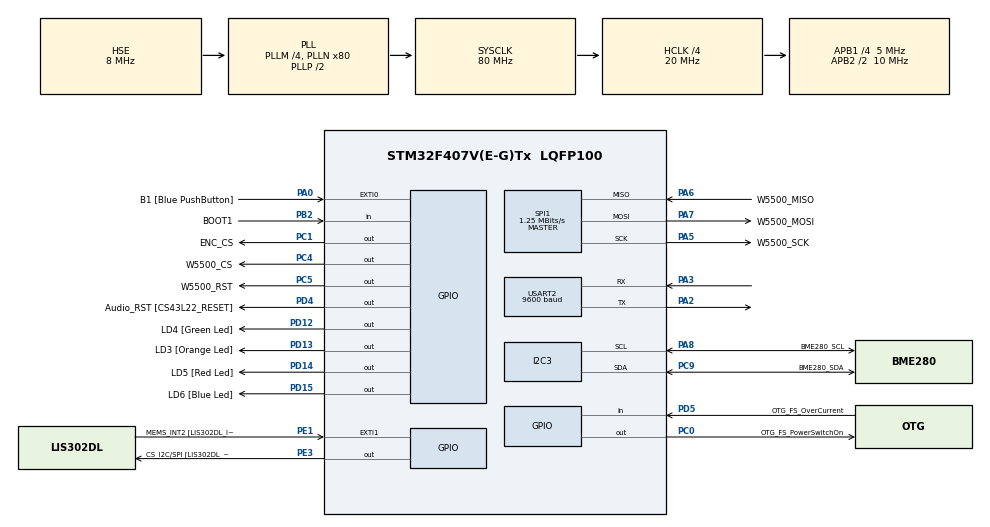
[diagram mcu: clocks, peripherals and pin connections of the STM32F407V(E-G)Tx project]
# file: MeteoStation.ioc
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Mcu.Family=STM32F4
Mcu.Name=STM32F407V(E-G)Tx
Mcu.Package=LQFP100
NVIC.PriorityGroup=NVIC_PRIORITYGROUP_4
NVIC.TIM6_DAC_IRQn=true\:15\:0\:false\:false\:true\:false\:true\:true
NVIC.TimeBase=TIM6_DAC_IRQn
NVIC.TimeBaseIP=TIM6
PA0-WKUP.GPIO_Label=B1 [Blue PushButton]
PA0-WKUP.Signal=GPXTI0
PA10.GPIO_Label=OTG_FS_ID
PA10.GPIO_Mode=GPIO_MODE_AF_PP
PA10.GPIO_PuPd=GPIO_NOPULL
PA10.GPIO_Speed=GPIO_SPEED_FREQ_LOW
PA10.Signal=USB_OTG_FS_ID
PA11.GPIO_Label=OTG_FS_DM
PA11.GPIO_Mode=GPIO_MODE_AF_PP
PA11.GPIO_PuPd=GPIO_NOPULL
PA11.GPIO_Speed=GPIO_SPEED_FREQ_LOW
PA11.Signal=USB_OTG_FS_DM
PA12.GPIO_Label=OTG_FS_DP
PA12.GPIO_Mode=GPIO_MODE_AF_PP
PA12.GPIO_PuPd=GPIO_NOPULL
PA12.GPIO_Speed=GPIO_SPEED_FREQ_LOW
PA12.Signal=USB_OTG_FS_DP
PA13.GPIO_Label=SWDIO
PA13.Mode=Serial_Wire
PA13.Signal=SYS_JTMS-SWDIO
PA14.GPIO_Label=SWCLK
PA14.Mode=Serial_Wire
PA14.Signal=SYS_JTCK-SWCLK
PA2.Mode=Asynchronous
PA2.Signal=USART2_TX
PA3.Mode=Asynchronous
PA3.Signal=USART2_RX
PA4.GPIO_Label=I2S3_WS [CS43L22_LRCK]
PA4.GPIO_Mode=GPIO_MODE_AF_PP
PA4.GPIO_PuPd=GPIO_NOPULL
PA4.GPIO_Speed=GPIO_SPEED_FREQ_LOW
PA4.Signal=I2S3_WS
PA5.GPIO_Label=W5500_SCK
PA5.GPIO_Mode=GPIO_MODE_AF_PP
PA5.GPIO_PuPd=GPIO_NOPULL
PA5.GPIO_Speed=GPIO_SPEED_FREQ_LOW
PA5.Mode=Full_Duplex_Master
PA5.Signal=SPI1_SCK
PA6.GPIO_Label=W5500_MISO
PA6.GPIO_Mode=GPIO_MODE_AF_PP
PA6.GPIO_PuPd=GPIO_NOPULL
PA6.GPIO_Speed=GPIO_SPEED_FREQ_LOW
PA6.Mode=Full_Duplex_Master
PA6.Signal=SPI1_MISO
PA7.GPIO_Label=W5500_MOSI
PA7.GPIO_Mode=GPIO_MODE_AF_PP
PA7.GPIO_PuPd=GPIO_NOPULL
PA7.GPIO_Speed=GPIO_SPEED_FREQ_LOW
PA7.Mode=Full_Duplex_Master
PA7.Signal=SPI1_MOSI
PA8.GPIO_Label=BME280_SCL
PA8.Mode=I2C
PA8.Signal=I2C3_SCL
PA9.GPIO_Label=VBUS_FS
PA9.GPIO_Mode=GPIO_MODE_INPUT
PA9.GPIO_PuPd=GPIO_NOPULL
PA9.Signal=USB_OTG_FS_VBUS
PB10.GPIO_Label=CLK_IN [MP45DT02_CLK]
PB10.GPIO_Mode=GPIO_MODE_AF_PP
PB10.GPIO_PuPd=GPIO_NOPULL
PB10.GPIO_Speed=GPIO_SPEED_FREQ_LOW
PB10.Signal=I2S2_CK
PB2.GPIO_Label=BOOT1
PB2.GPIO_Mode=GPIO_MODE_INPUT
PB2.GPIO_PuPd=GPIO_NOPULL
PB2.Signal=GPIO_Input
PB3.GPIO_Label=SWO
PB3.Signal=SYS_JTDO-SWO
PB6.GPIO_Label=Audio_SCL [CS43L22_SCL]
PB6.GPIO_Mode=GPIO_MODE_AF_OD
PB6.GPIO_PuPd=GPIO_NOPULL
PB6.GPIO_Speed=GPIO_SPEED_FREQ_LOW
PB6.Signal=I2C1_SCL
PB9.GPIO_Label=Audio_SDA [CS43L22_SDA]
PB9.GPIO_Mode=GPIO_MODE_AF_OD
PB9.GPIO_PuPd=GPIO_NOPULL
PB9.GPIO_Speed=GPIO_SPEED_FREQ_LOW
PB9.Signal=I2C1_SDA
PC0.GPIO_Label=OTG_FS_PowerSwitchOn
PC0.GPIO_PuPd=GPIO_NOPULL
PC0.GPIO_Speed=GPIO_SPEED_FREQ_LOW
PC0.PinState=GPIO_PIN_SET
PC0.Signal=GPIO_Output
PC1.GPIO_Label=ENC_CS
PC1.GPIO_Speed=GPIO_SPEED_FREQ_HIGH
PC1.PinState=GPIO_PIN_SET
PC1.Signal=GPIO_Output
PC10.GPIO_Label=I2S3_SCK [CS43L22_SCLK]
PC10.GPIO_Mode=GPIO_MODE_AF_PP
PC10.GPIO_PuPd=GPIO_NOPULL
PC10.GPIO_Speed=GPIO_SPEED_FREQ_LOW
PC10.Signal=I2S3_CK
PC12.GPIO_Label=I2S3_SD [CS43L22_SDIN]
PC12.GPIO_Mode=GPIO_MODE_AF_PP
PC12.GPIO_PuPd=GPIO_NOPULL
PC12.GPIO_Speed=GPIO_SPEED_FREQ_LOW
PC12.Signal=I2S3_SD
PC14-OSC32_IN.GPIO_Label=PC14-OSC32_IN
PC14-OSC32_IN.Mode=LSE-External-Oscillator
PC14-OSC32_IN.Signal=RCC_OSC32_IN
PC15-OSC32_OUT.GPIO_Label=PC15-OSC32_OUT
PC15-OSC32_OUT.Mode=LSE-External-Oscillator
PC15-OSC32_OUT.Signal=RCC_OSC32_OUT
PC3.GPIO_Label=PDM_OUT [MP45DT02_DOUT]
PC3.GPIO_Mode=GPIO_MODE_AF_PP
PC3.GPIO_PuPd=GPIO_NOPULL
PC3.GPIO_Speed=GPIO_SPEED_FREQ_LOW
PC3.Signal=I2S2_SD
PC4.GPIO_Label=W5500_CS
PC4.Signal=GPIO_Output
PC5.GPIO_Label=W5500_RST
PC5.Signal=GPIO_Output
PC7.GPIO_Label=I2S3_MCK [CS43L22_MCLK]
PC7.GPIO_Mode=GPIO_MODE_AF_PP
PC7.GPIO_PuPd=GPIO_NOPULL
PC7.GPIO_Speed=GPIO_SPEED_FREQ_LOW
PC7.Signal=I2S3_MCK
PC9.GPIO_Label=BME280_SDA
PC9.Mode=I2C
PC9.Signal=I2C3_SDA
PD12.GPIO_Label=LD4 [Green Led]
PD12.GPIO_PuPd=GPIO_NOPULL
PD12.GPIO_Speed=GPIO_SPEED_FREQ_LOW
PD12.Signal=GPIO_Output
PD13.GPIO_Label=LD3 [Orange Led]
PD13.GPIO_PuPd=GPIO_NOPULL
PD13.GPIO_Speed=GPIO_SPEED_FREQ_LOW
PD13.Signal=GPIO_Output
PD14.GPIO_Label=LD5 [Red Led]
PD14.GPIO_PuPd=GPIO_NOPULL
PD14.GPIO_Speed=GPIO_SPEED_FREQ_LOW
PD14.Signal=GPIO_Output
PD15.GPIO_Label=LD6 [Blue Led]
PD15.GPIO_PuPd=GPIO_NOPULL
PD15.GPIO_Speed=GPIO_SPEED_FREQ_LOW
PD15.Signal=GPIO_Output
PD4.GPIO_Label=Audio_RST [CS43L22_RESET]
PD4.GPIO_PuPd=GPIO_NOPULL
PD4.GPIO_Speed=GPIO_SPEED_FREQ_LOW
PD4.Signal=GPIO_Output
PD5.GPIO_Label=OTG_FS_OverCurrent
PD5.GPIO_Mode=GPIO_MODE_INPUT
PD5.GPIO_PuPd=GPIO_NOPULL
PD5.Signal=GPIO_Input
PE1.GPIO_Label=MEMS_INT2 [LIS302DL_INT2]
PE1.GPIO_ModeDefaultEXTI=GPIO_MODE_EVT_RISING
PE1.GPIO_PuPd=GPIO_NOPULL
PE1.Signal=GPXTI1
PE3.GPIO_Label=CS_I2C/SPI [LIS302DL_CS_I2C/SPI]
PE3.GPIO_PuPd=GPIO_NOPULL
PE3.GPIO_Speed=GPIO_SPEED_FREQ_LOW
PE3.Signal=GPIO_Output
PH0-OSC_IN.GPIO_Label=PH0-OSC_IN
PH0-OSC_IN.Mode=HSE-External-Oscillator
PH0-OSC_IN.Signal=RCC_OSC_IN
PH1-OSC_OUT.GPIO_Label=PH1-OSC_OUT
PH1-OSC_OUT.Mode=HSE-External-Oscillator
PH1-OSC_OUT.Signal=RCC_OSC_OUT
ProjectManager.HeapSize=0x200
ProjectManager.StackSize=0x400
ProjectManager.TargetToolchain=STM32CubeIDE
RCC.48MHZClocksFreq_Value=22857142.85714286
RCC.AHBCLKDivider=RCC_SYSCLK_DIV4
RCC.AHBFreq_Value=20000000
RCC.APB1CLKDivider=RCC_HCLK_DIV4
RCC.APB1Freq_Value=5000000
RCC.APB1TimFreq_Value=10000000
RCC.APB2CLKDivider=RCC_HCLK_DIV2
RCC.APB2Freq_Value=10000000
RCC.APB2TimFreq_Value=20000000
RCC.CortexFreq_Value=20000000
RCC.HCLKFreq_Value=20000000
RCC.HSE_VALUE=8000000
RCC.HSI_VALUE=16000000
RCC.PLLM=4
RCC.PLLN=80
RCC.PLLQ=7
RCC.PLLSourceVirtual=RCC_PLLSOURCE_HSE
RCC.SYSCLKFreq_VALUE=80000000
RCC.SYSCLKSource=RCC_SYSCLKSOURCE_PLLCLK
RCC.VCOOutputFreq_Value=160000000
RTC.Format=RTC_FORMAT_BIN
RTC.Hours=22
RTC.Minutes=59
RTC.Seconds=54
SPI1.BaudRatePrescaler=SPI_BAUDRATEPRESCALER_8
SPI1.CalculateBaudRate=1.25 MBits/s
SPI1.Direction=SPI_DIRECTION_2LINES
SPI1.Mode=SPI_MODE_MASTER
SPI1.VirtualType=VM_MASTER
USART2.BaudRate=9600
USART2.VirtualMode=VM_ASYNC
VP_RTC_VS_RTC_Activate.Mode=RTC_Enabled
VP_RTC_VS_RTC_Calendar.Mode=RTC_Calendar
VP_SYS_VS_tim6.Mode=TIM6
board=STM32F407G-DISC1

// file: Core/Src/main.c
/* USER CODE BEGIN Header */
/**
  ******************************************************************************
  * @file           : main.c
  * @brief          : Main program body
  ******************************************************************************
  * @attention
  *
  * Copyright (c) 2022 STMicroelectronics.
  * All rights reserved.
  *
  * This software is licensed under terms that can be found in the LICENSE file
  * in the root directory of this software component.
  * If no LICENSE file comes with this software, it is provided AS-IS.
  *
  ******************************************************************************
  */
/* USER CODE END Header */
#include "main.h"

/* USER CODE BEGIN Includes */
#include "string.h"
#include "stdio.h"

#include "FreeRTOS.h"
#include "task.h"
#include "queue.h"

#include "bme280.h"

/* USER CODE END Includes */

 I2C_HandleTypeDef hi2c3;

RTC_HandleTypeDef hrtc;

SPI_HandleTypeDef hspi1;

UART_HandleTypeDef huart2;

/* USER CODE BEGIN PV */

#define DWT_CTRL	(*(volatile uint32_t *)0xE0001000)

/* USER CODE END PV */

void SystemClock_Config(void);
static void MX_GPIO_Init(void);
static void MX_I2C3_Init(void);
static void MX_USART2_UART_Init(void);
static void MX_RTC_Init(void);
static void MX_SPI1_Init(void);
/* USER CODE BEGIN PFP */
void bme_measure(void *parameters);
void send_data(void *parameters);
/* USER CODE END PFP */

/* USER CODE BEGIN 0 */
bme280_t bme280;
BaseType_t status;
QueueHandle_t queue_meas;
TaskHandle_t send_data_handle;

/* USER CODE END 0 */

int main(void)
{
  /* USER CODE BEGIN 1 */
  bme280.i2c_port_handler = &hi2c3;
  bme280.i2c_addr = 0xEC;

  /* USER CODE END 1 */

  /* MCU Configuration--------------------------------------------------------*/

  /* Reset of all peripherals, Initializes the Flash interface and the Systick. */
  HAL_Init();

  /* Configure the system clock */
  SystemClock_Config();

  /* Initialize all configured peripherals */
  MX_GPIO_Init();
  MX_I2C3_Init();
  MX_USART2_UART_Init();
  MX_RTC_Init();
  MX_SPI1_Init();
  /* USER CODE BEGIN 2 */

  //Enable the CYCCNT counter
  DWT_CTRL |= (1<<0);

  SEGGER_SYSVIEW_Conf();
  SEGGER_SYSVIEW_Start();

  status = xTaskCreate(bme_measure, "bme_measure", 200, NULL, 2, NULL);
  configASSERT(status == pdPASS);

  status = xTaskCreate(send_data, "send_data", 200, NULL, 2, &send_data_handle);
  configASSERT(status == pdPASS);

  queue_meas = xQueueCreate(5, sizeof(float));
  configASSERT(queue_meas);

  bme280_config(&bme280, OSRS_2, OSRS_2, OSRS_2, MODE_FORCED, T_SB_0p5, IIR_4);
  bme280_measure(&bme280);

  vTaskStartScheduler();

  /* USER CODE END 2 */

  /* Infinite loop */
  while (1)
  {

  }
}

void SystemClock_Config(void)
{
  RCC_OscInitTypeDef RCC_OscInitStruct = {0};
  RCC_ClkInitTypeDef RCC_ClkInitStruct = {0};

  /** Configure the main internal regulator output voltage
  */
  __HAL_RCC_PWR_CLK_ENABLE();
  __HAL_PWR_VOLTAGESCALING_CONFIG(PWR_REGULATOR_VOLTAGE_SCALE1);

  /** Initializes the RCC Oscillators according to the specified parameters
  * in the RCC_OscInitTypeDef structure.
  */
  RCC_OscInitStruct.OscillatorType = RCC_OSCILLATORTYPE_LSI|RCC_OSCILLATORTYPE_HSE;
  RCC_OscInitStruct.HSEState = RCC_HSE_ON;
  RCC_OscInitStruct.LSIState = RCC_LSI_ON;
  RCC_OscInitStruct.PLL.PLLState = RCC_PLL_ON;
  RCC_OscInitStruct.PLL.PLLSource = RCC_PLLSOURCE_HSE;
  RCC_OscInitStruct.PLL.PLLM = 4;
  RCC_OscInitStruct.PLL.PLLN = 80;
  RCC_OscInitStruct.PLL.PLLP = RCC_PLLP_DIV2;
  RCC_OscInitStruct.PLL.PLLQ = 7;
  if (HAL_RCC_OscConfig(&RCC_OscInitStruct) != HAL_OK)
  {
    Error_Handler();
  }

  /** Initializes the CPU, AHB and APB buses clocks
  */
  RCC_ClkInitStruct.ClockType = RCC_CLOCKTYPE_HCLK|RCC_CLOCKTYPE_SYSCLK
                              |RCC_CLOCKTYPE_PCLK1|RCC_CLOCKTYPE_PCLK2;
  RCC_ClkInitStruct.SYSCLKSource = RCC_SYSCLKSOURCE_PLLCLK;
  RCC_ClkInitStruct.AHBCLKDivider = RCC_SYSCLK_DIV4;
  RCC_ClkInitStruct.APB1CLKDivider = RCC_HCLK_DIV4;
  RCC_ClkInitStruct.APB2CLKDivider = RCC_HCLK_DIV2;

  if (HAL_RCC_ClockConfig(&RCC_ClkInitStruct, FLASH_LATENCY_0) != HAL_OK)
  {
    Error_Handler();
  }
}

static void MX_I2C3_Init(void)
{

  hi2c3.Instance = I2C3;
  hi2c3.Init.ClockSpeed = 100000;
  hi2c3.Init.DutyCycle = I2C_DUTYCYCLE_2;
  hi2c3.Init.OwnAddress1 = 0;
  hi2c3.Init.AddressingMode = I2C_ADDRESSINGMODE_7BIT;
  hi2c3.Init.DualAddressMode = I2C_DUALADDRESS_DISABLE;
  hi2c3.Init.OwnAddress2 = 0;
  hi2c3.Init.GeneralCallMode = I2C_GENERALCALL_DISABLE;
  hi2c3.Init.NoStretchMode = I2C_NOSTRETCH_DISABLE;
  if (HAL_I2C_Init(&hi2c3) != HAL_OK)
  {
    Error_Handler();
  }

}

static void MX_RTC_Init(void)
{

  RTC_TimeTypeDef sTime = {0};
  RTC_DateTypeDef sDate = {0};

  /** Initialize RTC Only
  */
  hrtc.Instance = RTC;
  hrtc.Init.HourFormat = RTC_HOURFORMAT_24;
  hrtc.Init.AsynchPrediv = 127;
  hrtc.Init.SynchPrediv = 255;
  hrtc.Init.OutPut = RTC_OUTPUT_DISABLE;
  hrtc.Init.OutPutPolarity = RTC_OUTPUT_POLARITY_HIGH;
  hrtc.Init.OutPutType = RTC_OUTPUT_TYPE_OPENDRAIN;
  if (HAL_RTC_Init(&hrtc) != HAL_OK)
  {
    Error_Handler();
  }

  /** Initialize RTC and set the Time and Date
  */
  sTime.Hours = 22;
  sTime.Minutes = 59;
  sTime.Seconds = 54;
  sTime.DayLightSaving = RTC_DAYLIGHTSAVING_NONE;
  sTime.StoreOperation = RTC_STOREOPERATION_RESET;
  if (HAL_RTC_SetTime(&hrtc, &sTime, RTC_FORMAT_BIN) != HAL_OK)
  {
    Error_Handler();
  }
  sDate.WeekDay = RTC_WEEKDAY_MONDAY;
  sDate.Month = RTC_MONTH_JANUARY;
  sDate.Date = 1;
  sDate.Year = 0;

  if (HAL_RTC_SetDate(&hrtc, &sDate, RTC_FORMAT_BIN) != HAL_OK)
  {
    Error_Handler();
  }

}

static void MX_SPI1_Init(void)
{

  /* SPI1 parameter configuration*/
  hspi1.Instance = SPI1;
  hspi1.Init.Mode = SPI_MODE_MASTER;
  hspi1.Init.Direction = SPI_DIRECTION_2LINES;
  hspi1.Init.DataSize = SPI_DATASIZE_8BIT;
  hspi1.Init.CLKPolarity = SPI_POLARITY_LOW;
  hspi1.Init.CLKPhase = SPI_PHASE_1EDGE;
  hspi1.Init.NSS = SPI_NSS_SOFT;
  hspi1.Init.BaudRatePrescaler = SPI_BAUDRATEPRESCALER_8;
  hspi1.Init.FirstBit = SPI_FIRSTBIT_MSB;
  hspi1.Init.TIMode = SPI_TIMODE_DISABLE;
  hspi1.Init.CRCCalculation = SPI_CRCCALCULATION_DISABLE;
  hspi1.Init.CRCPolynomial = 10;
  if (HAL_SPI_Init(&hspi1) != HAL_OK)
  {
    Error_Handler();
  }

}

static void MX_USART2_UART_Init(void)
{

  huart2.Instance = USART2;
  huart2.Init.BaudRate = 9600;
  huart2.Init.WordLength = UART_WORDLENGTH_8B;
  huart2.Init.StopBits = UART_STOPBITS_1;
  huart2.Init.Parity = UART_PARITY_NONE;
  huart2.Init.Mode = UART_MODE_TX_RX;
  huart2.Init.HwFlowCtl = UART_HWCONTROL_NONE;
  huart2.Init.OverSampling = UART_OVERSAMPLING_16;
  if (HAL_UART_Init(&huart2) != HAL_OK)
  {
    Error_Handler();
  }

}

static void MX_GPIO_Init(void)
{
  GPIO_InitTypeDef GPIO_InitStruct = {0};

  /* GPIO Ports Clock Enable */
  __HAL_RCC_GPIOE_CLK_ENABLE();
  __HAL_RCC_GPIOC_CLK_ENABLE();
  __HAL_RCC_GPIOH_CLK_ENABLE();
  __HAL_RCC_GPIOA_CLK_ENABLE();
  __HAL_RCC_GPIOB_CLK_ENABLE();
  __HAL_RCC_GPIOD_CLK_ENABLE();

  /*Configure GPIO pin Output Level */
  HAL_GPIO_WritePin(CS_I2C_SPI_GPIO_Port, CS_I2C_SPI_Pin, GPIO_PIN_RESET);

  /*Configure GPIO pin Output Level */
  HAL_GPIO_WritePin(GPIOC, OTG_FS_PowerSwitchOn_Pin|ENC_CS_Pin, GPIO_PIN_SET);

  /*Configure GPIO pin Output Level */
  HAL_GPIO_WritePin(GPIOC, W5500_CS_Pin|W5500_RST_Pin, GPIO_PIN_RESET);

  /*Configure GPIO pin Output Level */
  HAL_GPIO_WritePin(GPIOD, LD4_Pin|LD3_Pin|LD5_Pin|LD6_Pin
                          |Audio_RST_Pin, GPIO_PIN_RESET);

  /*Configure GPIO pin : CS_I2C_SPI_Pin */
  GPIO_InitStruct.Pin = CS_I2C_SPI_Pin;
  GPIO_InitStruct.Mode = GPIO_MODE_OUTPUT_PP;
  GPIO_InitStruct.Pull = GPIO_NOPULL;
  GPIO_InitStruct.Speed = GPIO_SPEED_FREQ_LOW;
  HAL_GPIO_Init(CS_I2C_SPI_GPIO_Port, &GPIO_InitStruct);

  /*Configure GPIO pins : OTG_FS_PowerSwitchOn_Pin W5500_CS_Pin W5500_RST_Pin */
  GPIO_InitStruct.Pin = OTG_FS_PowerSwitchOn_Pin|W5500_CS_Pin|W5500_RST_Pin;
  GPIO_InitStruct.Mode = GPIO_MODE_OUTPUT_PP;
  GPIO_InitStruct.Pull = GPIO_NOPULL;
  GPIO_InitStruct.Speed = GPIO_SPEED_FREQ_LOW;
  HAL_GPIO_Init(GPIOC, &GPIO_InitStruct);

  /*Configure GPIO pin : ENC_CS_Pin */
  GPIO_InitStruct.Pin = ENC_CS_Pin;
  GPIO_InitStruct.Mode = GPIO_MODE_OUTPUT_PP;
  GPIO_InitStruct.Pull = GPIO_NOPULL;
  GPIO_InitStruct.Speed = GPIO_SPEED_FREQ_HIGH;
  HAL_GPIO_Init(ENC_CS_GPIO_Port, &GPIO_InitStruct);

  /*Configure GPIO pin : PDM_OUT_Pin */
  GPIO_InitStruct.Pin = PDM_OUT_Pin;
  GPIO_InitStruct.Mode = GPIO_MODE_AF_PP;
  GPIO_InitStruct.Pull = GPIO_NOPULL;
  GPIO_InitStruct.Speed = GPIO_SPEED_FREQ_LOW;
  GPIO_InitStruct.Alternate = GPIO_AF5_SPI2;
  HAL_GPIO_Init(PDM_OUT_GPIO_Port, &GPIO_InitStruct);

  /*Configure GPIO pin : B1_Pin */
  GPIO_InitStruct.Pin = B1_Pin;
  GPIO_InitStruct.Mode = GPIO_MODE_IT_RISING;
  GPIO_InitStruct.Pull = GPIO_NOPULL;
  HAL_GPIO_Init(B1_GPIO_Port, &GPIO_InitStruct);

  /*Configure GPIO pin : I2S3_WS_Pin */
  GPIO_InitStruct.Pin = I2S3_WS_Pin;
  GPIO_InitStruct.Mode = GPIO_MODE_AF_PP;
  GPIO_InitStruct.Pull = GPIO_NOPULL;
  GPIO_InitStruct.Speed = GPIO_SPEED_FREQ_LOW;
  GPIO_InitStruct.Alternate = GPIO_AF6_SPI3;
  HAL_GPIO_Init(I2S3_WS_GPIO_Port, &GPIO_InitStruct);

  /*Configure GPIO pin : BOOT1_Pin */
  GPIO_InitStruct.Pin = BOOT1_Pin;
  GPIO_InitStruct.Mode = GPIO_MODE_INPUT;
  GPIO_InitStruct.Pull = GPIO_NOPULL;
  HAL_GPIO_Init(BOOT1_GPIO_Port, &GPIO_InitStruct);

  /*Configure GPIO pin : CLK_IN_Pin */
  GPIO_InitStruct.Pin = CLK_IN_Pin;
  GPIO_InitStruct.Mode = GPIO_MODE_AF_PP;
  GPIO_InitStruct.Pull = GPIO_NOPULL;
  GPIO_InitStruct.Speed = GPIO_SPEED_FREQ_LOW;
  GPIO_InitStruct.Alternate = GPIO_AF5_SPI2;
  HAL_GPIO_Init(CLK_IN_GPIO_Port, &GPIO_InitStruct);

  /*Configure GPIO pins : LD4_Pin LD3_Pin LD5_Pin LD6_Pin
                           Audio_RST_Pin */
  GPIO_InitStruct.Pin = LD4_Pin|LD3_Pin|LD5_Pin|LD6_Pin
                          |Audio_RST_Pin;
  GPIO_InitStruct.Mode = GPIO_MODE_OUTPUT_PP;
  GPIO_InitStruct.Pull = GPIO_NOPULL;
  GPIO_InitStruct.Speed = GPIO_SPEED_FREQ_LOW;
  HAL_GPIO_Init(GPIOD, &GPIO_InitStruct);

  /*Configure GPIO pins : I2S3_MCK_Pin I2S3_SCK_Pin I2S3_SD_Pin */
  GPIO_InitStruct.Pin = I2S3_MCK_Pin|I2S3_SCK_Pin|I2S3_SD_Pin;
  GPIO_InitStruct.Mode = GPIO_MODE_AF_PP;
  GPIO_InitStruct.Pull = GPIO_NOPULL;
  GPIO_InitStruct.Speed = GPIO_SPEED_FREQ_LOW;
  GPIO_InitStruct.Alternate = GPIO_AF6_SPI3;
  HAL_GPIO_Init(GPIOC, &GPIO_InitStruct);

  /*Configure GPIO pin : VBUS_FS_Pin */
  GPIO_InitStruct.Pin = VBUS_FS_Pin;
  GPIO_InitStruct.Mode = GPIO_MODE_INPUT;
  GPIO_InitStruct.Pull = GPIO_NOPULL;
  HAL_GPIO_Init(VBUS_FS_GPIO_Port, &GPIO_InitStruct);

  /*Configure GPIO pins : OTG_FS_ID_Pin OTG_FS_DM_Pin OTG_FS_DP_Pin */
  GPIO_InitStruct.Pin = OTG_FS_ID_Pin|OTG_FS_DM_Pin|OTG_FS_DP_Pin;
  GPIO_InitStruct.Mode = GPIO_MODE_AF_PP;
  GPIO_InitStruct.Pull = GPIO_NOPULL;
  GPIO_InitStruct.Speed = GPIO_SPEED_FREQ_LOW;
  GPIO_InitStruct.Alternate = GPIO_AF10_OTG_FS;
  HAL_GPIO_Init(GPIOA, &GPIO_InitStruct);

  /*Configure GPIO pin : OTG_FS_OverCurrent_Pin */
  GPIO_InitStruct.Pin = OTG_FS_OverCurrent_Pin;
  GPIO_InitStruct.Mode = GPIO_MODE_INPUT;
  GPIO_InitStruct.Pull = GPIO_NOPULL;
  HAL_GPIO_Init(OTG_FS_OverCurrent_GPIO_Port, &GPIO_InitStruct);

  /*Configure GPIO pins : Audio_SCL_Pin Audio_SDA_Pin */
  GPIO_InitStruct.Pin = Audio_SCL_Pin|Audio_SDA_Pin;
  GPIO_InitStruct.Mode = GPIO_MODE_AF_OD;
  GPIO_InitStruct.Pull = GPIO_NOPULL;
  GPIO_InitStruct.Speed = GPIO_SPEED_FREQ_LOW;
  GPIO_InitStruct.Alternate = GPIO_AF4_I2C1;
  HAL_GPIO_Init(GPIOB, &GPIO_InitStruct);

  /*Configure GPIO pin : MEMS_INT2_Pin */
  GPIO_InitStruct.Pin = MEMS_INT2_Pin;
  GPIO_InitStruct.Mode = GPIO_MODE_EVT_RISING;
  GPIO_InitStruct.Pull = GPIO_NOPULL;
  HAL_GPIO_Init(MEMS_INT2_GPIO_Port, &GPIO_InitStruct);

}

/* USER CODE BEGIN 4 */
void bme_measure(void *parameters)
{
	TickType_t xLastWakeTime = xTaskGetTickCount();

	while(1)
	{
		bme280_wakeup(&bme280);
		bme280_measure(&bme280);
		xTaskNotify(send_data_handle, 0, eNoAction);
		xTaskDelayUntil(&xLastWakeTime, pdMS_TO_TICKS(1500));
	}
}

void send_data(void *parameters)
{
	BaseType_t status;

	char str[30];
	RTC_TimeTypeDef sTime;
	RTC_DateTypeDef sDate;
	char end[] = {0xFF, 0xFF, 0xFF};

	while(1)
	{
		status = xTaskNotifyWait(0, 0, NULL, portMAX_DELAY);
		if (status == pdTRUE)
		{
			sprintf(str, "t_T.txt=\"%.2fC\"", bme280.temperature);
//			strcat(str, end);
			memcpy(&str[16], end, 3);
			HAL_UART_Transmit(&huart2, (uint8_t *)str, strlen(str), HAL_MAX_DELAY);
			memset(str, 0, strlen(str));

			sprintf(str, "t_P.txt=\"%.0fPa\"", bme280.pressure);
			memcpy(&str[17], end, 3);
			HAL_UART_Transmit(&huart2, (uint8_t *)str, strlen(str), HAL_MAX_DELAY);
			memset(str, 0, strlen(str));

			sprintf(str, "t_H.txt=\"%.0f%%\"", bme280.humidity);
			memcpy(&str[13], end, 3);
			HAL_UART_Transmit(&huart2, (uint8_t *)str, strlen(str), HAL_MAX_DELAY);
			memset(str, 0, strlen(str));

			HAL_RTC_GetTime(&hrtc, &sTime, RTC_FORMAT_BIN);
			sprintf(str, "t_time.txt=\"%.2d:%.2d\"", sTime.Hours, sTime.Minutes);
			memcpy(&str[18], end, 3);
			HAL_UART_Transmit(&huart2, (uint8_t *)str, strlen(str), HAL_MAX_DELAY);
			memset(str, 0, strlen(str));

			HAL_RTC_GetDate(&hrtc, &sDate, RTC_FORMAT_BIN);
			sprintf(str, "t_date.txt=\"%.2d.%.2d.%.2d\"", sDate.Date, sDate.Month, sDate.Year);
			memcpy(&str[21], end, 3);
			HAL_UART_Transmit(&huart2, (uint8_t *)str, strlen(str), HAL_MAX_DELAY);
			memset(str, 0, strlen(str));
		}

	}
}
/* USER CODE END 4 */

void HAL_TIM_PeriodElapsedCallback(TIM_HandleTypeDef *htim)
{
  if (htim->Instance == TIM6) {
    HAL_IncTick();
  }
}

void Error_Handler(void)
{
  __disable_irq();
  while (1)
  {
  }
}
